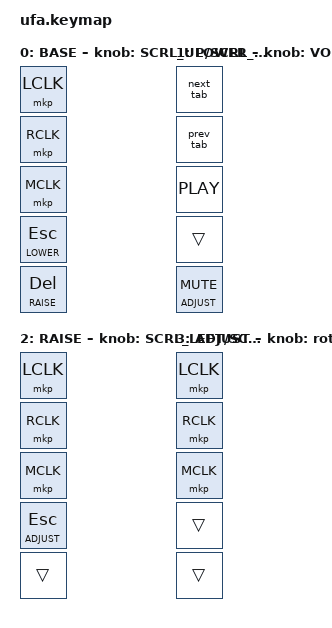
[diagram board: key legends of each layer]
#include <behaviors.dtsi>
#include <dt-bindings/zmk/bt.h>
#include <dt-bindings/zmk/keys.h>
#include <dt-bindings/zmk/outputs.h>
#include <dt-bindings/zmk/pointing.h>

#include <input/processors/report_rate_limit.dtsi>
#include <behaviors.dtsi>
#include <dt-bindings/zmk/keys.h>
#include <dt-bindings/zmk/bt.h>
#include <dt-bindings/zmk/outputs.h>
#include <dt-bindings/zmk/ext_power.h>

#define U_TAPPING_TERM 220
#define U_QUICK_TAP 200

#define BASE 0
#define LOWER 1
#define RAISE 2
#define ADJUST 3


&zip_report_rate_limit {
        limit-ble-only;
};

/ {
    macros {
        next_tab: next_tab {
            label = "ZM_NEXT_TAB";
            compatible = "zmk,behavior-macro";
            #binding-cells = <0>;
            wait-ms = <40>;
            tap-ms = <40>;
            bindings
                = <&macro_press   &kp LCTRL>    
                , <&macro_tap     &kp TAB>    
                , <&macro_release &kp LCTRL>
                ;
        };
        prev_tab: prev_tab {
            label = "ZM_PREV_TAB";
            compatible = "zmk,behavior-macro";
            #binding-cells = <0>;
            wait-ms = <40>;
            tap-ms = <40>;
            bindings
                = <&macro_press   &kp LCTRL>    
                , <&macro_press   &kp LSFT>    
                , <&macro_tap     &kp TAB>    
                , <&macro_release &kp LSFT>
                , <&macro_release &kp LCTRL>
                ;
        };
    };

    behaviors {
        u_lt_mouse: u_lt_mouse {
            compatible = "zmk,behavior-hold-tap";
            #binding-cells = <2>;
            tapping-term-ms = <U_TAPPING_TERM>;
            quick-tap-ms = <U_QUICK_TAP>;
            flavor = "tap-preferred";
            bindings = <&mo>, <&mkp>;
        };

        ec_s: mouse_scroll {
            compatible = "zmk,behavior-input-two-axis";
            #binding-cells = <1>;
            trigger-period-ms = <3>;
            x-input-code = <INPUT_REL_HWHEEL>;
            y-input-code = <INPUT_REL_WHEEL>;
            time-to-max-speed-ms = <100>;
            acceleration-exponent = <0>;
        };

        rot_enc: sensor_rotate {
            compatible = "zmk,behavior-sensor-rotate";
            #sensor-binding-cells = <0>;
            bindings = <&ec_s MOVE_Y(-37)>, <&ec_s MOVE_Y(37)>;
            tap-ms = <65>;
        };

        rot_enc_scroll: sensor_rotate_scroll {
            compatible = "zmk,behavior-sensor-rotate-var";
            #sensor-binding-cells = <2>;
            bindings = <&msc>, <&msc>;
            tap-ms = <65>;
        };
    };

    mou0_mmv_il {
        compatible = "zmk,input-listener";
        device = <&mou0>;
        limiter {
                layers = <BASE LOWER RAISE ADJUST>;
                input-processors = <&zip_report_rate_limit 15>;
        };
    };

    keymap {
        compatible = "zmk,keymap";

        BASE {
            bindings = <
                &mkp LCLK
                &mkp RCLK
                &mkp MCLK
                &lt LOWER ESC
                &lt RAISE DEL
            >;
            // sensor-bindings = <&rot_enc>;
            sensor-bindings = <&rot_enc_scroll SCRL_UP SCRL_DOWN>;
            
        };

        LOWER {
            bindings = <
                &next_tab
                &prev_tab
                &kp C_PLAY
                &trans
                &lt ADJUST C_MUTE
            >;
            sensor-bindings = <&inc_dec_kp C_VOL_UP C_VOL_DN>;
        };

        RAISE {
            bindings = <
                &mkp LCLK
                &mkp RCLK
                &mkp MCLK
                &lt ADJUST ESC
                &trans
            >;      
            sensor-bindings = <&rot_enc_scroll SCRL_LEFT SCRL_RIGHT>;

        };

        ADJUST {
            bindings = <
                &mkp LCLK
                &mkp RCLK
                &mkp MCLK
                &trans
                &trans
            >;
            sensor-bindings = <&rot_enc>;
        };

    };
};
